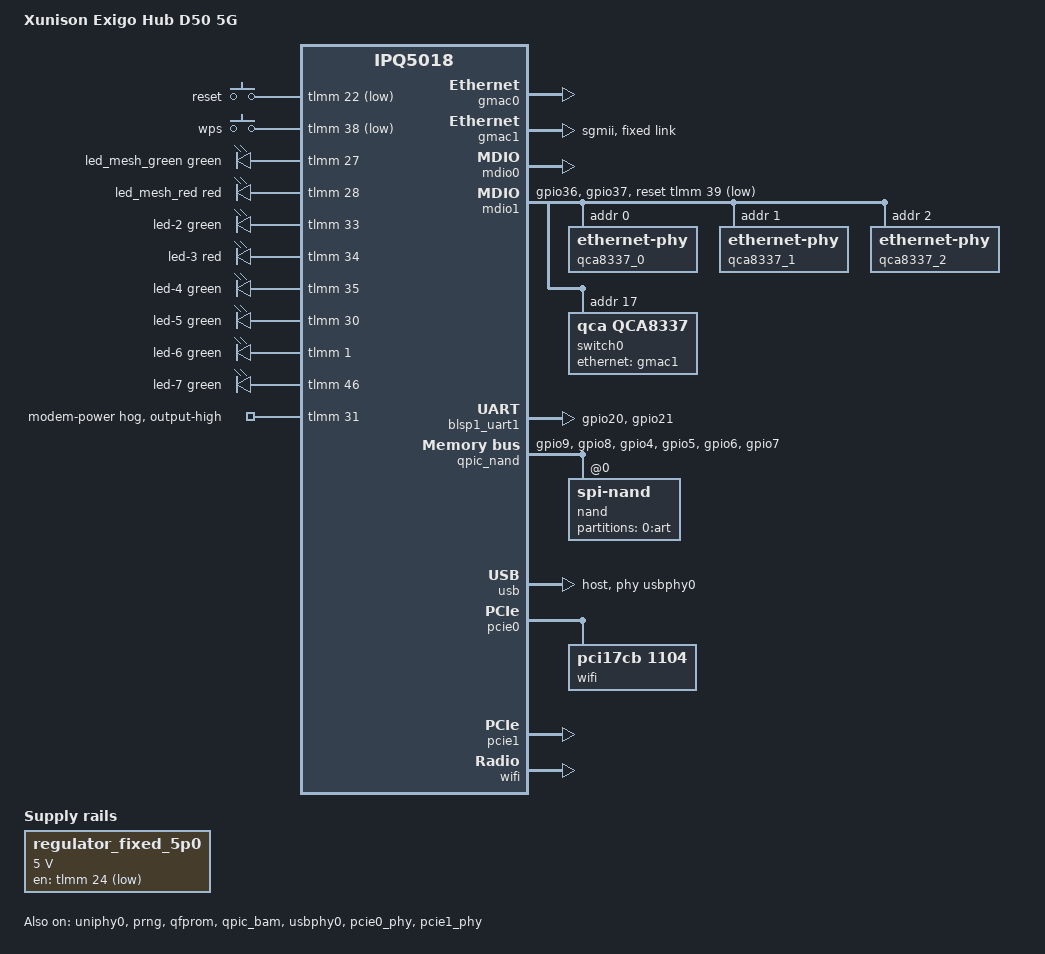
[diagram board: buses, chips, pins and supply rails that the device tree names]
// SPDX-License-Identifier: GPL-2.0-or-later OR MIT

/dts-v1/;

#include "ipq5018.dtsi"
#include "ipq5018-ess.dtsi"

#include <dt-bindings/gpio/gpio.h>
#include <dt-bindings/input/input.h>
#include <dt-bindings/leds/common.h>

/ {
	model = "Xunison Exigo Hub D50 5G";
	compatible = "xunison,exigo-hub-d50-5g", "qcom,ipq5018";

	aliases {
		led-boot = &led_mesh_green;
		led-failsafe = &led_mesh_red;
		led-running = &led_mesh_green;
		led-upgrade = &led_mesh_red;
		serial0 = &blsp1_uart1;
	};

	chosen {
		bootargs-append = " root=/dev/ubiblock0_1 swiotlb=1 coherent_pool=2M";
		stdout-path = "serial0:115200n8";
	};

	keys {
		compatible = "gpio-keys";
		pinctrl-0 = <&button_pins>;
		pinctrl-names = "default";

		button-reset {
			label = "reset";
			gpios = <&tlmm 22 GPIO_ACTIVE_LOW>;
			linux,code = <KEY_RESTART>;
		};

		button-wps {
			label = "wps";
			gpios = <&tlmm 38 GPIO_ACTIVE_LOW>;
			linux,code = <KEY_WPS_BUTTON>;
		};
	};

	leds {
		compatible = "gpio-leds";
		pinctrl-0 = <&leds_pins>;
		pinctrl-names = "default";

		/* MESH and 5G are bi-colour: green + red together show amber */
		led_mesh_green: led-0 {
			color = <LED_COLOR_ID_GREEN>;
			function = "mesh";
			gpios = <&tlmm 27 GPIO_ACTIVE_HIGH>;
		};

		led_mesh_red: led-1 {
			color = <LED_COLOR_ID_RED>;
			function = "mesh";
			gpios = <&tlmm 28 GPIO_ACTIVE_HIGH>;
		};

		led-2 {
			color = <LED_COLOR_ID_GREEN>;
			function = "5g";
			gpios = <&tlmm 33 GPIO_ACTIVE_HIGH>;
		};

		led-3 {
			color = <LED_COLOR_ID_RED>;
			function = "5g";
			gpios = <&tlmm 34 GPIO_ACTIVE_HIGH>;
		};

		led-4 {
			color = <LED_COLOR_ID_GREEN>;
			function = "4g";
			gpios = <&tlmm 35 GPIO_ACTIVE_HIGH>;
		};

		led-5 {
			color = <LED_COLOR_ID_GREEN>;
			function = LED_FUNCTION_WLAN;
			gpios = <&tlmm 30 GPIO_ACTIVE_HIGH>;
			linux,default-trigger = "network";
			mode = "link";
		};

		led-6 {
			color = <LED_COLOR_ID_GREEN>;
			function = LED_FUNCTION_WAN_ONLINE;
			gpios = <&tlmm 1 GPIO_ACTIVE_HIGH>;
		};

		/* single LED inside the rear WAN RJ45 socket */
		led-7 {
			color = <LED_COLOR_ID_GREEN>;
			function = LED_FUNCTION_WAN;
			gpios = <&tlmm 46 GPIO_ACTIVE_HIGH>;
		};
	};

	regulator_fixed_5p0: regulator-s0500 {
		compatible = "regulator-fixed";
		regulator-min-microvolt = <5000000>;
		regulator-max-microvolt = <5000000>;
		regulator-name = "fixed_5p0";
		gpios = <&tlmm 24 GPIO_ACTIVE_LOW>;
	};
};

&uniphy0 {
	status = "okay";

	assigned-clocks = <&uniphy0 UNIPHY_CLK_REF>;
	assigned-clock-rates = <UNIPHY_REFCLK_25MHZ>;
};

// MAC0 -> GE Phy -> WAN
&gmac0 {
	status = "okay";

	label = "wan";

	nvmem-cells = <&macaddr_gmac0 0>;
	nvmem-cell-names = "mac-address";
};

// MAC1 ---SGMII---> QCA8337 SerDes
&gmac1 {
	status = "okay";

	phy-mode = "sgmii";

	nvmem-cells = <&macaddr_gmac1 0>;
	nvmem-cell-names = "mac-address";

	fixed-link {
		speed = <1000>;
		full-duplex;
	};
};

&mdio0 {
	status = "okay";
};

&mdio1 {
	status = "okay";

	pinctrl-0 = <&mdio1_pins>;
	pinctrl-names = "default";
	reset-gpios = <&tlmm 39 GPIO_ACTIVE_LOW>;

	// QCA8337 Phy0 -> LAN3
	qca8337_0: ethernet-phy@0 {
		reg = <0>;
	};

	// QCA8337 Phy1 -> LAN2
	qca8337_1: ethernet-phy@1 {
		reg = <1>;
	};

	// QCA8337 Phy2 -> LAN1
	qca8337_2: ethernet-phy@2 {
		reg = <2>;
	};

	// QCA8337 switch
	switch0: ethernet-switch@11 {
		compatible = "qca,qca8337";
		reg = <0x11>;
		#address-cells = <1>;
		#size-cells = <0>;

		ethernet-ports {
			#address-cells = <1>;
			#size-cells = <0>;

			switch0cpu: ethernet-port@0 {
				reg = <0>;
				label = "cpu";
				phy-mode = "sgmii";
				ethernet = <&gmac1>;
				qca,sgmii-enable-pll;

				fixed-link {
					speed = <1000>;
					full-duplex;
				};
			};

			ethernet-port@1 {
				reg = <1>;
				label = "lan3";
				phy-handle = <&qca8337_0>;
			};

			ethernet-port@2 {
				reg = <2>;
				label = "lan2";
				phy-handle = <&qca8337_1>;
			};

			ethernet-port@3 {
				reg = <3>;
				label = "lan1";
				phy-handle = <&qca8337_2>;
			};
		};
	};
};

&sleep_clk {
	clock-frequency = <32000>;
};

&xo_board_clk {
	clock-div = <4>;
	clock-mult = <1>;
};

&blsp1_uart1 {
	pinctrl-0 = <&serial_0_pins>;
	pinctrl-names = "default";

	status = "okay";
};

&prng {
	status = "okay";
};

&qfprom {
	status = "okay";
};

&qpic_bam {
	status = "okay";
};

&qpic_nand {
	pinctrl-0 = <&qpic_pins>;
	pinctrl-names = "default";

	status = "okay";

	nand@0 {
		compatible = "spi-nand";
		reg = <0>;

		nand-ecc-engine = <&qpic_nand>;
		nand-ecc-strength = <4>;
		nand-ecc-step-size = <512>;
		nand-bus-width = <8>;

		partitions {
			compatible = "qcom,smem-part";

			partition-0-art {
				label = "0:art";
				read-only;

				nvmem-layout {
					compatible = "fixed-layout";
					#address-cells = <1>;
					#size-cells = <1>;

					/* stock firmware: LAN uses 0x0, WAN uses 0x6 */
					macaddr_gmac1: macaddr@0 {
						compatible = "mac-base";
						#nvmem-cell-cells = <1>;
						reg = <0x0 0x6>;
					};

					macaddr_gmac0: macaddr@6 {
						compatible = "mac-base";
						#nvmem-cell-cells = <1>;
						reg = <0x6 0x6>;
					};

					caldata_ipq5018: calibration@1000 {
						reg = <0x1000 0x20000>;
					};

					caldata_qcn9074: calibration@26800 {
						reg = <0x26800 0x20000>;
					};
				};
			};
		};
	};
};

&tlmm {
	mdio1_pins: mdio-state {
		mdc-pins {
			pins = "gpio36";
			function = "mdc";
			drive-strength = <8>;
			bias-pull-up;
		};

		mdio-pins {
			pins = "gpio37";
			function = "mdio";
			drive-strength = <8>;
			bias-pull-up;
		};
	};

	leds_pins: leds-pins {
		pins = "gpio1", "gpio27", "gpio28", "gpio30",
		       "gpio33", "gpio34", "gpio35", "gpio46";
		function = "gpio";
		drive-strength = <8>;
		bias-pull-down;
	};

	button_pins: button-pins {
		pins = "gpio22", "gpio38";
		function = "gpio";
		drive-strength = <8>;
		bias-pull-up;
	};

	qpic_pins: qpic-state {
		clock-pins {
			pins = "gpio9";
			function = "qspi_clk";
			drive-strength = <8>;
			bias-disable;
		};

		cs-pins {
			pins = "gpio8";
			function = "qspi_cs";
			drive-strength = <8>;
			bias-disable;
		};

		data-pins {
			pins = "gpio4", "gpio5", "gpio6", "gpio7";
			function = "qspi_data";
			drive-strength = <8>;
			bias-disable;
		};
	};

	/*
	 * Pull RX up: with nothing on the console header it floats, which
	 * causes an interrupt storm and on some units a hang at boot.
	 */
	serial_0_pins: uart0-state {
		rx-pins {
			pins = "gpio20";
			function = "blsp0_uart0";
			drive-strength = <8>;
			bias-pull-up;
		};

		tx-pins {
			pins = "gpio21";
			function = "blsp0_uart0";
			drive-strength = <8>;
			bias-disable;
		};
	};

	/* Nothing consumes the modem power line, keep the modem powered */
	modem-power-hog {
		gpio-hog;
		gpios = <31 GPIO_ACTIVE_HIGH>;
		output-high;
		line-name = "modem-power";
	};
};

&usbphy0 {
	status = "okay";

	vdd-supply = <&regulator_fixed_5p0>;
};

/* USB 2.0 only: no USB3 PHY, so clock the pipe from UTMI */
&usb {
	#address-cells = <1>;
	#size-cells = <0>;

	phys = <&usbphy0>;
	phy-names = "usb2-phy";
	dr_mode = "host";
	qcom,select-utmi-as-pipe-clk;

	status = "okay";

	usb_port1: port@1 {
		reg = <1>;
		#trigger-source-cells = <0>;
	};
};

&pcie0_phy {
	status = "okay";
};

&pcie0 {
	status = "okay";

	perst-gpios = <&tlmm 15 GPIO_ACTIVE_LOW>;

	pcie@0 {
		wifi@0,0 {
			status = "okay";

			/* QCN9074: ath11k lacks DT compatible for PCI cards */
			compatible = "pci17cb,1104";
			reg = <0x00010000 0 0 0 0>;

			qcom,calibration-variant = "Xunison-Exigo-Hub-D50-5G";

			nvmem-cells = <&caldata_qcn9074>, <&macaddr_gmac1 3>;
			nvmem-cell-names = "calibration", "mac-address";
		};
	};
};

&pcie1_phy {
	status = "okay";
};

/* Quectel RM500Q-AE, driven over PCIe (MHI) */
&pcie1 {
	status = "okay";

	perst-gpios = <&tlmm 18 GPIO_ACTIVE_LOW>;
	wake-gpios = <&tlmm 19 GPIO_ACTIVE_HIGH>;
};

&q6v5_wcss {
	firmware-name = "ath11k/IPQ5018/hw1.0/q6_fw.mdt",
			"ath11k/IPQ5018/hw1.0/m3_fw.mdt";
};

&wifi {
	status = "okay";

	qcom,rproc = <&q6v5_wcss>;
	qcom,calibration-variant = "Xunison-Exigo-Hub-D50-5G";
	qcom,ath11k-fw-memory-mode = <1>;

	nvmem-cells = <&caldata_ipq5018>, <&macaddr_gmac1 2>;
	nvmem-cell-names = "calibration", "mac-address";
};
